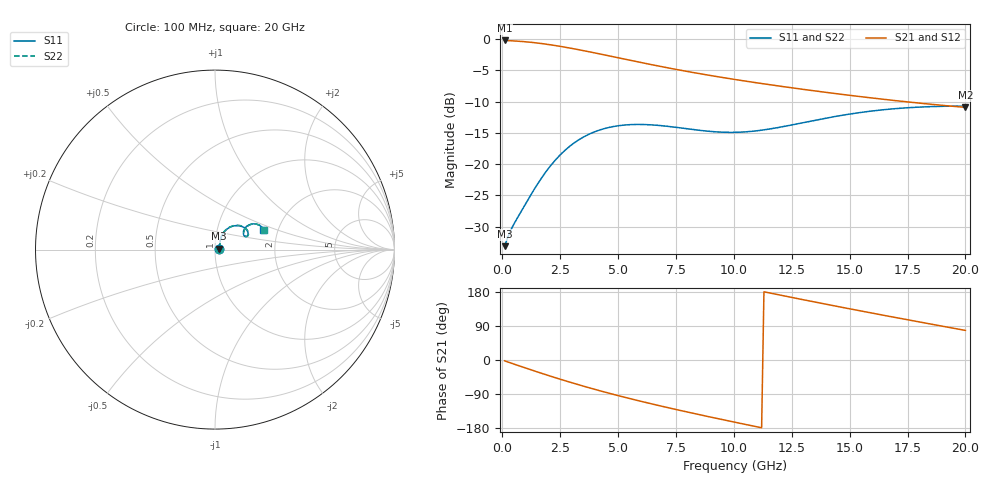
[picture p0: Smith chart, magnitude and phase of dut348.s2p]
! Touchstone file exported from HFSS 2024.1.0
!  File:  C:/UserFiles/LocalFiles/RDL_TSV_Batchsim/temp_RDL_TSV_348_1779636807.aedt
!  Generated:  11:53:02 PM May 24, 2026
!  Design:  RDL_TSV
!  Project:  temp_RDL_TSV_348_1779636807
!  Setup:  Setup1
!  Solution:  Sweep
! Variables:
!  dtsv = 6.85um
!  hbump = 3um
!  htsv = 72.94um
!  ldown = 692.61um
!  lrdl = 602.49um
!  p = 40
!  p1 = 41.35um
!  rhole = 10um
!  subl = 4487.79um
!  t = 450um
!  tdown = 4.2um
!  trdl = 3.09um
!  viad = 10um
!  wdown = 20.8um
!  wrdl = 24.1um
!  xbump = 18um
# GHz S MA R 50.000000
! Terminal data exported
! Port[1] = TM1_1_T1
! Port[2] = TM1_4_T1
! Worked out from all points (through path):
!   200 points, 100 MHz to 20 GHz, reference 50 ohm
!   highest |S21| = -0.19 dB at 100 MHz (marker M1); lowest = -10.9 dB at 20 GHz (marker M2)
!   group delay of S21, straight-line fit = 37.7 ps
!   lowest |S11| = -33.1 dB at 100 MHz (marker M3), VSWR 1.05, Z = 52.2 + j0.567 ohm
!   |S11| at or under -10 dB: start of sweep to end of sweep
!   |S22| runs from -33.1 to -10.7 dB; largest |S21 - S12| = 1e-14
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0.1  0.02203 14.3  0.9785 -2.2  0.9785 -2.2  0.02203 14.3
! Gamma 0 0 0 0
! Port Impedance 50 0 50 0
0.4  0.03048 35.0  0.9723 -8.6  0.9723 -8.6  0.03047 35.1
0.9  0.0445 52.3  0.9586 -19.0  0.9586 -19.0  0.04447 52.4
1.4  0.06377 61.6  0.9387 -29.2  0.9387 -29.2  0.06381 61.8
1.9  0.08766 64.1  0.9134 -39.2  0.9134 -39.2  0.08785 64.5
2.3  0.1083 63.0  0.8902 -46.9  0.8902 -46.9  0.1086 63.4
2.7  0.1287 60.3  0.8651 -54.5  0.8651 -54.5  0.1292 60.7
3.5  0.1646 52.6  0.8116 -68.9  0.8116 -68.9  0.1656 53.0
4.3  0.1901 44.1  0.7573 -82.6  0.7573 -82.6  0.1915 44.5
5.2  0.205 35.5  0.6987 -97.1  0.6987 -97.1  0.2069 35.9
6  0.2079 29.4  0.6509 -109.2  0.6509 -109.2  0.2101 29.7
6.8  0.2039 25.1  0.6078 -120.8  0.6078 -120.8  0.2064 25.3
7.6  0.1961 22.7  0.5694 -132.0  0.5694 -132.0  0.1988 22.9
8.4  0.1877 22.5  0.5353 -142.8  0.5353 -142.8  0.1905 22.6
9.2  0.1815 24.2  0.505 -153.3  0.505 -153.3  0.1843 24.1
10.1  0.1799 27.6  0.4747 -164.9  0.4747 -164.9  0.1824 27.4
11.6  0.1919 33.5  0.4313 176.2  0.4313 176.2  0.1939 33.1
13.4  0.2226 36.2  0.388 154.2  0.388 154.2  0.224 35.8
15  0.2517 34.5  0.3557 135.1  0.3557 135.1  0.2528 34.2
16.7  0.2754 30.6  0.3268 115.3  0.3268 115.3  0.2764 30.4
18.3  0.288 26.2  0.3043 97.1  0.3043 97.1  0.2889 26.1
20  0.2915 22.1  0.2848 78.1  0.2848 78.1  0.2925 22.0
